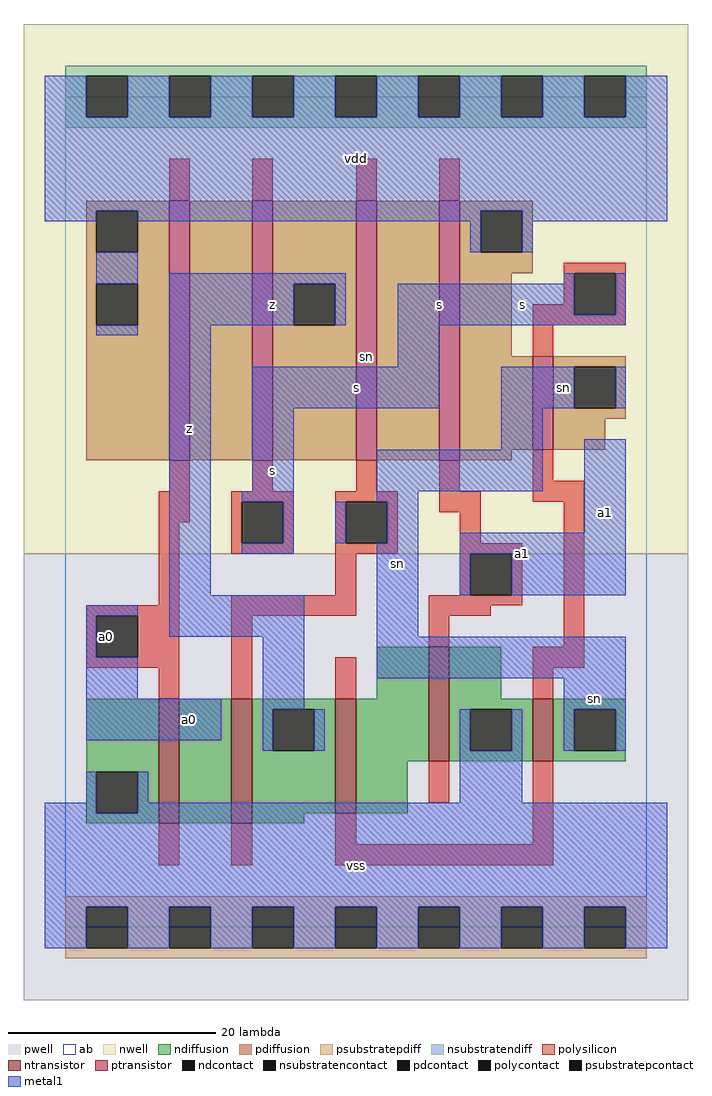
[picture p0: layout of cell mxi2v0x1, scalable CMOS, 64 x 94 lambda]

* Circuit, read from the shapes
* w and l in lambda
.subckt mxi2v0x1 a0 a1 s sn vdd vss z
M1 n1 a0 vss vss nfet w=12 l=2
M2 z sn n1 vss nfet w=12 l=2
M3 n2 s z vss nfet w=11 l=2
M4 vss a1 n2 vss nfet w=11 l=2
M5 sn s vss vss nfet w=6 l=2
M6 n3 a0 vdd vdd pfet w=25 l=2
M7 z s n3 vdd pfet w=25 l=2
M8 n4 sn z vdd pfet w=25 l=2
M9 vdd a1 n4 vdd pfet w=25 l=2
M10 sn s vdd vdd pfet w=9 l=2
.ends

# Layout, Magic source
magic
tech scmos
<< ab >>
rect 0 0 56 80
<< pwell >>
rect -4 -7 60 36
<< nwell >>
rect -4 36 60 87
<< polysilicon >>
rect 10 70 12 74
rect 18 70 20 74
rect 28 70 30 74
rect 36 70 38 74
rect 48 63 54 64
rect 48 60 49 63
rect 45 59 49 60
rect 53 59 54 63
rect 45 58 54 59
rect 45 55 47 58
rect 10 42 12 45
rect 18 42 20 45
rect 28 42 30 45
rect 36 42 38 45
rect 45 43 47 46
rect 9 39 12 42
rect 16 41 22 42
rect 9 31 11 39
rect 16 37 17 41
rect 21 37 22 41
rect 16 36 22 37
rect 26 41 32 42
rect 26 37 27 41
rect 31 37 32 41
rect 36 40 40 42
rect 45 41 50 43
rect 26 36 32 37
rect 38 37 40 40
rect 38 36 44 37
rect 26 32 28 36
rect 38 32 39 36
rect 43 32 44 36
rect 2 30 11 31
rect 2 26 3 30
rect 7 26 11 30
rect 2 25 11 26
rect 9 22 11 25
rect 16 30 28 32
rect 35 31 44 32
rect 35 30 41 31
rect 16 22 18 30
rect 35 27 37 30
rect 48 27 50 41
rect 26 22 28 26
rect 45 25 50 27
rect 45 22 47 25
rect 35 12 37 16
rect 9 6 11 10
rect 16 6 18 10
rect 26 8 28 11
rect 45 8 47 16
rect 26 6 47 8
<< ndiffusion >>
rect 30 22 35 27
rect 2 15 9 22
rect 2 11 3 15
rect 7 11 9 15
rect 2 10 9 11
rect 11 10 16 22
rect 18 21 26 22
rect 18 17 20 21
rect 24 17 26 21
rect 18 11 26 17
rect 28 16 35 22
rect 37 22 42 27
rect 37 21 45 22
rect 37 17 39 21
rect 43 17 45 21
rect 37 16 45 17
rect 47 21 54 22
rect 47 17 49 21
rect 53 17 54 21
rect 47 16 54 17
rect 28 11 33 16
rect 18 10 23 11
<< pdiffusion >>
rect 2 69 10 70
rect 2 65 3 69
rect 7 65 10 69
rect 2 62 10 65
rect 2 58 3 62
rect 7 58 10 62
rect 2 45 10 58
rect 12 45 18 70
rect 20 62 28 70
rect 20 58 22 62
rect 26 58 28 62
rect 20 45 28 58
rect 30 45 36 70
rect 38 69 45 70
rect 38 65 40 69
rect 44 65 45 69
rect 38 63 45 65
rect 38 55 43 63
rect 38 46 45 55
rect 47 54 54 55
rect 47 50 49 54
rect 53 50 54 54
rect 47 49 54 50
rect 47 46 52 49
rect 38 45 43 46
<< metal1 >>
rect -2 78 2 82
rect 6 78 10 82
rect 14 78 18 82
rect 22 78 26 82
rect 30 78 34 82
rect 38 78 42 82
rect 46 78 50 82
rect 54 78 58 82
rect -2 69 58 78
rect -2 68 3 69
rect 7 68 40 69
rect 39 65 40 68
rect 44 68 58 69
rect 44 65 45 68
rect 3 62 7 65
rect 3 57 7 58
rect 10 62 27 63
rect 48 62 49 63
rect 10 58 22 62
rect 26 58 27 62
rect 32 59 49 62
rect 53 59 54 63
rect 32 58 54 59
rect 10 32 14 58
rect 32 54 36 58
rect 18 50 36 54
rect 42 50 49 54
rect 53 50 54 54
rect 18 42 22 50
rect 42 46 46 50
rect 17 41 22 42
rect 30 42 46 46
rect 30 41 34 42
rect 21 37 22 41
rect 26 37 27 41
rect 31 37 34 41
rect 50 38 54 47
rect 17 36 22 37
rect 2 30 7 31
rect 2 26 3 30
rect 10 28 23 32
rect 2 22 7 26
rect 2 18 15 22
rect 19 21 23 28
rect 30 28 34 37
rect 38 36 54 38
rect 38 32 39 36
rect 43 32 54 36
rect 30 24 54 28
rect 48 21 54 24
rect 19 17 20 21
rect 24 17 25 21
rect 38 17 39 21
rect 43 17 44 21
rect 48 17 49 21
rect 53 17 54 21
rect 2 12 3 15
rect -2 11 3 12
rect 7 12 8 15
rect 38 12 44 17
rect 7 11 58 12
rect -2 2 58 11
rect -2 -2 2 2
rect 6 -2 10 2
rect 14 -2 18 2
rect 22 -2 26 2
rect 30 -2 34 2
rect 38 -2 42 2
rect 46 -2 50 2
rect 54 -2 58 2
<< ntransistor >>
rect 9 10 11 22
rect 16 10 18 22
rect 26 11 28 22
rect 35 16 37 27
rect 45 16 47 22
<< ptransistor >>
rect 10 45 12 70
rect 18 45 20 70
rect 28 45 30 70
rect 36 45 38 70
rect 45 46 47 55
<< polycontact >>
rect 49 59 53 63
rect 17 37 21 41
rect 27 37 31 41
rect 39 32 43 36
rect 3 26 7 30
<< ndcontact >>
rect 3 11 7 15
rect 20 17 24 21
rect 39 17 43 21
rect 49 17 53 21
<< pdcontact >>
rect 3 65 7 69
rect 3 58 7 62
rect 22 58 26 62
rect 40 65 44 69
rect 49 50 53 54
<< psubstratepcontact >>
rect 2 -2 6 2
rect 10 -2 14 2
rect 18 -2 22 2
rect 26 -2 30 2
rect 34 -2 38 2
rect 42 -2 46 2
rect 50 -2 54 2
<< nsubstratencontact >>
rect 2 78 6 82
rect 10 78 14 82
rect 18 78 22 82
rect 26 78 30 82
rect 34 78 38 82
rect 42 78 46 82
rect 50 78 54 82
<< psubstratepdiff >>
rect 0 2 56 3
rect 0 -2 2 2
rect 6 -2 10 2
rect 14 -2 18 2
rect 22 -2 26 2
rect 30 -2 34 2
rect 38 -2 42 2
rect 46 -2 50 2
rect 54 -2 56 2
rect 0 -3 56 -2
<< nsubstratendiff >>
rect 0 82 56 83
rect 0 78 2 82
rect 6 78 10 82
rect 14 78 18 82
rect 22 78 26 82
rect 30 78 34 82
rect 38 78 42 82
rect 46 78 50 82
rect 54 78 56 82
rect 0 77 56 78
<< labels >>
rlabel ptransistor 29 55 29 55 6 sn
rlabel polycontact 4 28 4 28 6 a0
rlabel metal1 12 20 12 20 6 a0
rlabel metal1 12 48 12 48 6 z
rlabel metal1 28 6 28 6 6 vss
rlabel metal1 32 35 32 35 6 sn
rlabel metal1 20 44 20 44 6 s
rlabel metal1 28 52 28 52 6 s
rlabel metal1 20 60 20 60 6 z
rlabel metal1 28 74 28 74 6 vdd
rlabel metal1 44 36 44 36 6 a1
rlabel metal1 36 60 36 60 6 s
rlabel metal1 44 60 44 60 6 s
rlabel metal1 51 22 51 22 6 sn
rlabel metal1 52 40 52 40 6 a1
rlabel metal1 48 52 48 52 6 sn
<< end >>
